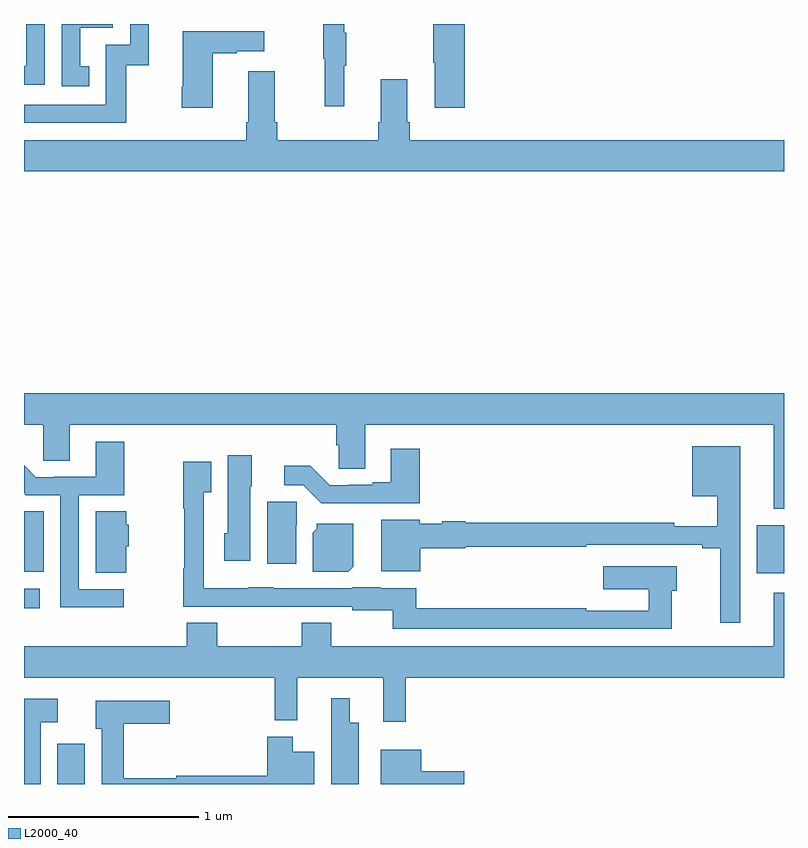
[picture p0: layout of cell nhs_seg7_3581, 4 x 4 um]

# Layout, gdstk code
import gdstk
lib = gdstk.Library(unit=1e-6, precision=1e-09)
def R(c, l, rs):  # rectangles x0, y0, x1, y1
    for r in rs: c.add(gdstk.rectangle(r[:2], r[2:], *l))
def P(c, l, *ps):  # polygons
    for p in ps: c.add(gdstk.Polygon(p, *l))
L2000_40 = (2000, 40)

nhs_seg7_3581 = lib.new_cell('nhs_seg7_3581')
R(nhs_seg7_3581, L2000_40, [(339.176,1056,339.319,1056.211), (339,1056.926,339.082,1057.027), (342.857,1057.109,343,1057.363), (339,1057.116,339.103,1057.436)])
P(nhs_seg7_3581, L2000_40, [(339.538,1059.783),(339.656,1059.783),(339.656,1060),(339.558,1060),(339.558,1059.891),(339.429,1059.891),(339.429,1059.576),(339,1059.576),(339,1059.48),(339.538,1059.48)],
  [(341.321,1060),(341.155,1060),(341.155,1059.796),(341.162,1059.796),(341.162,1059.558),(341.321,1059.558)],
  [(339.108,1060),(339.012,1060),(339.012,1059.778),(339,1059.778),(339,1059.681),(339.108,1059.681)],
  [(340.685,1059.779),(340.696,1059.779),(340.696,1059.953),(340.685,1059.953),(340.685,1060),(340.575,1060),(340.575,1059.816),(340.582,1059.816),(340.582,1059.567),(340.685,1059.567)],
  [(339.344,1059.777),(339.295,1059.777),(339.295,1059.981),(339.468,1059.981),(339.468,1060),(339.198,1060),(339.198,1059.672),(339.344,1059.672)],
  [(339.994,1059.847),(340.121,1059.847),(340.121,1059.857),(340.264,1059.857),(340.264,1059.961),(339.836,1059.961),(339.836,1059.67),(339.829,1059.67),(339.829,1059.558),(339.994,1059.558)],
  [(343,1059.388),(341.03,1059.388),(341.03,1059.484),(341.017,1059.484),(341.017,1059.709),(340.877,1059.709),(340.877,1059.484),(340.865,1059.484),(340.865,1059.388),(340.334,1059.388),(340.334,1059.484),(340.321,1059.484),(340.321,1059.751),(340.181,1059.751),(340.181,1059.484),(340.169,1059.484),(340.169,1059.388),(339,1059.388),(339,1059.224),(343,1059.224)],
  [(343,1058.056),(339,1058.056),(339,1057.892),(339.102,1057.892),(339.102,1057.702),(339.241,1057.702),(339.241,1057.892),(340.643,1057.892),(340.643,1057.782),(340.656,1057.782),(340.656,1057.66),(340.795,1057.66),(340.795,1057.892),(342.947,1057.892),(342.947,1057.448),(343,1057.448)],
  [(339.526,1057.026),(339.288,1057.026),(339.288,1057.521),(339.528,1057.521),(339.528,1057.801),(339.377,1057.801),(339.377,1057.617),(339.157,1057.617),(339.157,1057.614),(339.063,1057.614),(339,1057.677),(339,1057.529),(339.008,1057.521),(339.192,1057.521),(339.192,1056.929),(339.526,1056.929)],
  [(342.769,1057.777),(342.518,1057.777),(342.518,1057.514),(342.648,1057.514),(342.648,1057.357),(342.422,1057.357),(342.422,1057.376),(341.322,1057.376),(341.322,1057.384),(341.202,1057.384),(341.202,1057.369),(341.082,1057.369),(341.082,1057.39),(340.88,1057.39),(340.88,1057.121),(341.086,1057.121),(341.086,1057.24),(341.322,1057.24),(341.322,1057.248),(341.96,1057.248),(341.96,1057.26),(342.569,1057.26),(342.569,1057.24),(342.665,1057.24),(342.665,1056.849),(342.769,1056.849)],
  [(341.084,1057.765),(340.931,1057.765),(340.931,1057.588),(340.835,1057.588),(340.835,1057.575),(340.708,1057.575),(340.708,1057.572),(340.608,1057.572),(340.506,1057.675),(340.371,1057.675),(340.371,1057.572),(340.47,1057.572),(340.564,1057.478),(341.084,1057.478)],
  [(340.192,1057.566),(340.198,1057.566),(340.198,1057.729),(340.073,1057.729),(340.073,1057.32),(340.055,1057.32),(340.055,1057.176),(340.192,1057.176)],
  [(342.41,1057.018),(342.436,1057.018),(342.436,1057.147),(342.048,1057.147),(342.048,1057.025),(342.289,1057.025),(342.289,1056.912),(341.96,1056.912),(341.96,1056.925),(341.065,1056.925),(341.065,1057.03),(340.878,1057.03),(340.878,1057.036),(340.728,1057.036),(340.728,1057.029),(340.311,1057.029),(340.311,1057.036),(340.179,1057.036),(340.179,1057.03),(339.945,1057.03),(339.945,1057.535),(339.985,1057.535),(339.985,1057.696),(339.837,1057.696),(339.837,1057.451),(339.844,1057.451),(339.844,1057.136),(339.837,1057.136),(339.837,1056.933),(340.079,1056.933),(340.079,1056.932),(340.311,1056.932),(340.311,1056.933),(340.728,1056.933),(340.728,1056.914),(340.941,1056.914),(340.941,1056.816),(342.41,1056.816)],
  [(340.432,1057.362),(340.436,1057.362),(340.436,1057.485),(340.28,1057.485),(340.28,1057.158),(340.432,1057.158)],
  [(339.538,1057.251),(339.55,1057.251),(339.55,1057.365),(339.538,1057.365),(339.538,1057.436),(339.377,1057.436),(339.377,1057.111),(339.538,1057.111)],
  [(340.732,1057.144),(340.732,1057.369),(340.542,1057.369),(340.542,1057.344),(340.52,1057.322),(340.52,1057.118),(340.706,1057.118)],
  [(341.009,1056.56),(343,1056.56),(343,1057.006),(342.947,1057.006),(342.947,1056.724),(340.617,1056.724),(340.617,1056.848),(340.462,1056.848),(340.462,1056.724),(340.017,1056.724),(340.017,1056.848),(339.857,1056.848),(339.857,1056.724),(339,1056.724),(339,1056.56),(340.321,1056.56),(340.321,1056.335),(340.439,1056.335),(340.439,1056.56),(340.892,1056.56),(340.892,1056.327),(341.009,1056.327)],
  [(340.762,1056.322),(340.715,1056.322),(340.715,1056.451),(340.617,1056.451),(340.617,1056.165),(340.616,1056.165),(340.616,1056),(340.762,1056)],
  [(339.088,1056.326),(339.178,1056.326),(339.178,1056.448),(339,1056.448),(339,1056),(339.088,1056)],
  [(340.528,1056.169),(340.414,1056.169),(340.414,1056.25),(340.28,1056.25),(340.28,1056.044),(339.801,1056.044),(339.801,1056.029),(339.524,1056.029),(339.524,1056.317),(339.766,1056.317),(339.766,1056.439),(339.377,1056.439),(339.377,1056.291),(339.408,1056.291),(339.408,1056),(340.528,1056)],
  [(341.317,1056.068),(341.092,1056.068),(341.092,1056.181),(340.877,1056.181),(340.877,1056),(341.317,1056)])

lib.write_gds('nhs_seg7_3581.gds')
